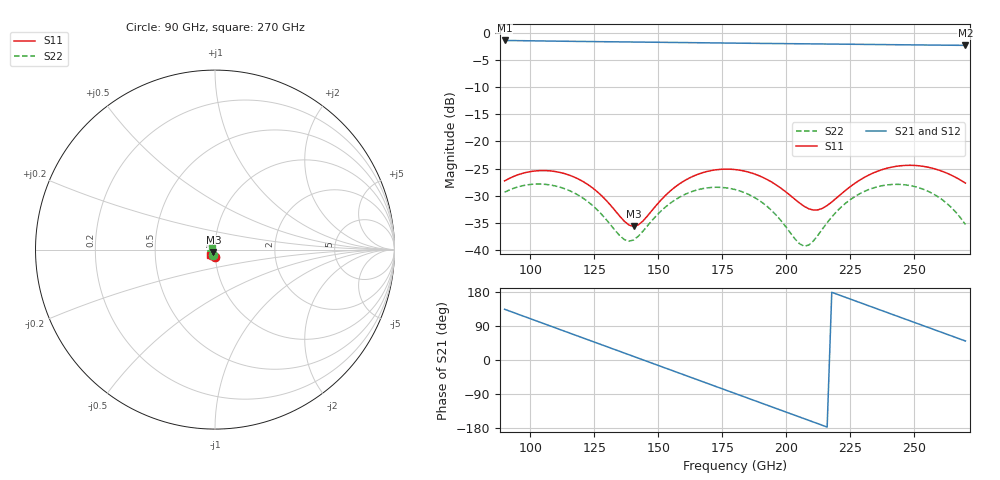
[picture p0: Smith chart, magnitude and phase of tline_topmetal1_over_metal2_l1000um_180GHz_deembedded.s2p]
! Created with skrf 2.0.1 (http://scikit-rf.org).
# GHz S DB R 50.0
!freq dBS11 angS11 dBS21 angS21 dBS12 angS12 dBS22 angS22
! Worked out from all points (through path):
!   101 points, 90 GHz to 270 GHz, reference 50 ohm
!   highest |S21| = -1.44 dB at 90 GHz (marker M1); lowest = -2.3 dB at 270 GHz (marker M2)
!   group delay of S21, straight-line fit = 6.85 ps
!   lowest |S11| = -35.6 dB at 140.4 GHz (marker M3), VSWR 1.03, Z = 49.1 - j1.38 ohm
!   |S11| at or under -10 dB: start of sweep to end of sweep
!   |S22| runs from -39.2 to -27.8 dB; largest |S21 - S12| = 8.9e-14
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90  -27.24 -91.4  -1.44 133.9  -1.44 133.9  -29.32 -106.3
99  -25.62 -108.5  -1.50 111.6  -1.50 111.6  -27.95 -125.4
106.2  -25.35 -122.6  -1.55 93.8  -1.55 93.8  -27.88 -141.2
113.4  -25.90 -136.0  -1.59 76.0  -1.59 76.0  -28.66 -156.2
120.6  -27.34 -147.6  -1.63 58.3  -1.63 58.3  -30.40 -168.9
129.6  -30.77 -154.6  -1.68 36.1  -1.68 36.1  -34.29 -175.4
136.8  -34.67 -141.2  -1.71 18.3  -1.71 18.3  -38.02 -156.6
140.4  -35.60 -122.4  -1.73 9.4  -1.73 9.4  -38.09 -137.3
151.2  -30.69 -90.0  -1.78 -17.3  -1.78 -17.3  -32.73 -117.8
158.4  -27.75 -93.9  -1.82 -35.0  -1.82 -35.0  -30.21 -125.9
167.4  -25.72 -106.0  -1.87 -57.2  -1.87 -57.2  -28.65 -141.7
180  -25.15 -125.8  -1.93 -88.3  -1.93 -88.3  -28.82 -166.1
187.2  -25.90 -136.0  -1.97 -106.0  -1.97 -106.0  -30.17 -178.7
194.4  -27.47 -143.3  -2.00 -123.7  -2.00 -123.7  -32.71 172.5
205.2  -31.29 -138.6  -2.05 -150.3  -2.05 -150.3  -38.78 -169.0
210.6  -32.59 -122.2  -2.07 -163.6  -2.07 -163.6  -38.28 -136.6
216  -31.76 -103.6  -2.10 -177.0  -2.10 -177.0  -34.91 -123.0
225  -28.30 -93.1  -2.14 160.9  -2.14 160.9  -30.69 -128.2
241.2  -24.71 -107.7  -2.22 121.0  -2.22 121.0  -27.90 -157.5
255.6  -24.74 -126.5  -2.28 85.6  -2.28 85.6  -29.18 174.1
262.8  -25.82 -133.8  -2.31 67.9  -2.31 67.9  -31.39 162.4
270  -27.64 -136.5  -2.34 50.2  -2.34 50.2  -35.25 158.2
